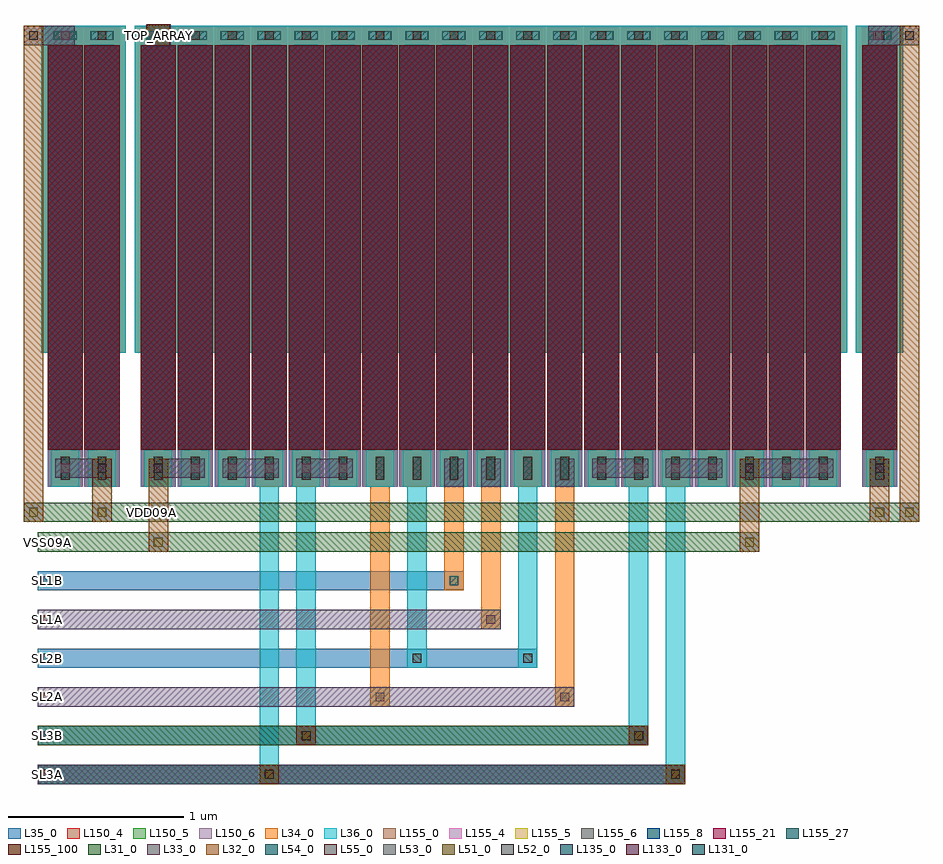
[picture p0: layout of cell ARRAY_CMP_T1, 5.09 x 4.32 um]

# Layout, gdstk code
from math import pi, radians
import gdstk
lib = gdstk.Library(unit=1e-6, precision=1e-09)
def R(c, l, rs):  # rectangles x0, y0, x1, y1
    for r in rs: c.add(gdstk.rectangle(r[:2], r[2:], *l))
def A(c, l, x, y, w, h, nx, ny, dx, dy):  # array of equal rectangles
    R(c, l, [(x+i*dx, y+j*dy, x+i*dx+w, y+j*dy+h) for i in range(nx) for j in range(ny)])
L31_0 = (31, 0)
L32_0 = (32, 0)
L33_0 = (33, 0)
L34_0 = (34, 0)
L35_0 = (35, 0)
L36_0 = (36, 0)
L51_0 = (51, 0)
L52_0 = (52, 0)
L53_0 = (53, 0)
L54_0 = (54, 0)
L55_0 = (55, 0)
L131_0 = (131, 0)
L133_0 = (133, 0)
L135_0 = (135, 0)
L150_4 = (150, 4)
L150_5 = (150, 5)
L150_6 = (150, 6)
L155_0 = (155, 0)
L155_4 = (155, 4)
L155_5 = (155, 5)
L155_6 = (155, 6)
L155_8 = (155, 8)
L155_21 = (155, 21)
L155_27 = (155, 27)
L155_100 = (155, 100)

m5_m4_cdns_621862986998 = lib.new_cell('M5_M4_CDNS_621862986998')
R(m5_m4_cdns_621862986998, L34_0, [(-0.07,-0.105,0.07,0.105)])
R(m5_m4_cdns_621862986998, L35_0, [(-0.07,-0.105,0.07,0.105)])
R(m5_m4_cdns_621862986998, L54_0, [(-0.025,-0.065,0.025,0.065)])

m6_m5_cdns_621862986999 = lib.new_cell('M6_M5_CDNS_621862986999')
R(m6_m5_cdns_621862986999, L35_0, [(-0.07,-0.105,0.07,0.105)])
R(m6_m5_cdns_621862986999, L36_0, [(-0.055,-0.105,0.055,0.105)])
R(m6_m5_cdns_621862986999, L55_0, [(-0.025,-0.065,0.025,0.065)])

m5_m4_cdns_6218629869910 = lib.new_cell('M5_M4_CDNS_6218629869910')
R(m5_m4_cdns_6218629869910, L34_0, [(-0.095,-0.055,0.095,0.055)])
R(m5_m4_cdns_6218629869910, L35_0, [(-0.12,-0.055,0.12,0.055)])
R(m5_m4_cdns_6218629869910, L54_0, [(-0.065,-0.025,0.065,0.025)])

m6_m5_cdns_621862986996 = lib.new_cell('M6_M5_CDNS_621862986996')
R(m6_m5_cdns_621862986996, L35_0, [(-0.055,-0.055,0.055,0.055)])
R(m6_m5_cdns_621862986996, L36_0, [(-0.055,-0.055,0.055,0.055)])
R(m6_m5_cdns_621862986996, L55_0, [(-0.025,-0.025,0.025,0.025)])

cu1f = lib.new_cell('CU1F')
R(cu1f, L34_0, [(0.02,0,0.18,0.21), (-0.035,2.51,0.235,2.62)])
R(cu1f, L35_0, [(0.02,0,0.18,0.21), (-0.035,2.51,0.235,2.62)])
R(cu1f, L36_0, [(0.02,0,0.18,0.21), (-0.035,2.51,0.235,2.62)])
R(cu1f, L150_4, [(0,0,0.2,2.62)])
R(cu1f, L150_5, [(0,0,0.2,2.62)])
R(cu1f, L150_6, [(0,0,0.2,2.62)])
R(cu1f, L155_0, [(0,0.21,0.2,2.51)])
R(cu1f, L155_4, [(0,0.21,0.2,2.51)])
R(cu1f, L155_5, [(0,0.21,0.2,2.51)])
R(cu1f, L155_6, [(0,0.21,0.2,2.51)])
R(cu1f, L155_8, [(0,0.21,0.2,2.51)])
R(cu1f, L155_21, [(0,0.21,0.2,2.51)])
R(cu1f, L155_27, [(0,0.21,0.2,2.51)])
R(cu1f, L155_100, [(0,0.21,0.2,2.51)])
cu1f.add(gdstk.FlexPath([(0.205,2.59),(0.205,0.76)], 0.06, ends=(0.03, 0), simple_path=True, layer=34, datatype=0))  # L34_0
cu1f.add(gdstk.FlexPath([(0.1,2.41),(0.1,0)], 0.05, ends="flush", simple_path=True, layer=34, datatype=0))  # L34_0
cu1f.add(gdstk.FlexPath([(-0.005,2.59),(-0.005,0.76)], 0.06, ends=(0.03, 0), simple_path=True, layer=34, datatype=0))  # L34_0
cu1f.add(gdstk.FlexPath([(0.205,0.76),(0.205,2.59)], 0.06, ends=(0, 0.03), simple_path=True, layer=35, datatype=0))  # L35_0
cu1f.add(gdstk.FlexPath([(0.1,2.41),(0.1,0)], 0.05, ends="flush", simple_path=True, layer=35, datatype=0))  # L35_0
cu1f.add(gdstk.FlexPath([(-0.005,0.76),(-0.005,2.59)], 0.06, ends=(0, 0.03), simple_path=True, layer=35, datatype=0))  # L35_0
cu1f.add(gdstk.FlexPath([(0.205,0.76),(0.205,2.59)], 0.06, ends=(0, 0.03), simple_path=True, layer=36, datatype=0))  # L36_0
cu1f.add(gdstk.FlexPath([(0.1,2.41),(0.1,0)], 0.05, ends="flush", simple_path=True, layer=36, datatype=0))  # L36_0
cu1f.add(gdstk.FlexPath([(-0.005,0.76),(-0.005,2.59)], 0.06, ends=(0, 0.03), simple_path=True, layer=36, datatype=0))  # L36_0
cu1f.add(gdstk.Reference(m5_m4_cdns_621862986998, (0.1,0.105), rotation=pi, x_reflection=True))
cu1f.add(gdstk.Reference(m6_m5_cdns_621862986999, (0.1,0.105), rotation=pi, x_reflection=True))
cu1f.add(gdstk.Reference(m5_m4_cdns_6218629869910, (0.1,2.565)))
cu1f.add(gdstk.Reference(m6_m5_cdns_621862986996, (0.1,2.565)))

m2_m1_cdns_621862986990 = lib.new_cell('M2_M1_CDNS_621862986990')
R(m2_m1_cdns_621862986990, L31_0, [(-0.055,-0.055,0.055,0.055)])
R(m2_m1_cdns_621862986990, L32_0, [(-0.055,-0.055,0.055,0.055)])
R(m2_m1_cdns_621862986990, L51_0, [(-0.025,-0.025,0.025,0.025)])

m3_m2_cdns_621862986991 = lib.new_cell('M3_M2_CDNS_621862986991')
R(m3_m2_cdns_621862986991, L32_0, [(-0.055,-0.055,0.055,0.055)])
R(m3_m2_cdns_621862986991, L33_0, [(-0.055,-0.055,0.055,0.055)])
R(m3_m2_cdns_621862986991, L52_0, [(-0.025,-0.025,0.025,0.025)])

m4_m3_cdns_621862986992 = lib.new_cell('M4_M3_CDNS_621862986992')
R(m4_m3_cdns_621862986992, L33_0, [(-0.055,-0.055,0.055,0.055)])
R(m4_m3_cdns_621862986992, L34_0, [(-0.055,-0.055,0.055,0.055)])
R(m4_m3_cdns_621862986992, L53_0, [(-0.025,-0.025,0.025,0.025)])

m4_m3_cdns_621862986993 = lib.new_cell('M4_M3_CDNS_621862986993')
R(m4_m3_cdns_621862986993, L33_0, [(-0.07,-0.065,0.07,0.065)])
R(m4_m3_cdns_621862986993, L34_0, [(-0.055,-0.055,0.055,0.055)])
R(m4_m3_cdns_621862986993, L53_0, [(-0.025,-0.025,0.025,0.025)])

m3_m2_cdns_621862986994 = lib.new_cell('M3_M2_CDNS_621862986994')
R(m3_m2_cdns_621862986994, L32_0, [(-0.065,-0.06,0.065,0.06)])
R(m3_m2_cdns_621862986994, L33_0, [(-0.07,-0.065,0.07,0.065)])
R(m3_m2_cdns_621862986994, L52_0, [(-0.025,-0.025,0.025,0.025)])

m2_m1_cdns_621862986995 = lib.new_cell('M2_M1_CDNS_621862986995')
R(m2_m1_cdns_621862986995, L31_0, [(-0.055,-0.055,0.055,0.055)])
R(m2_m1_cdns_621862986995, L32_0, [(-0.065,-0.06,0.065,0.06)])
R(m2_m1_cdns_621862986995, L51_0, [(-0.025,-0.025,0.025,0.025)])

m5_m4_cdns_621862986997 = lib.new_cell('M5_M4_CDNS_621862986997')
R(m5_m4_cdns_621862986997, L34_0, [(-0.055,-0.055,0.055,0.055)])
R(m5_m4_cdns_621862986997, L35_0, [(-0.055,-0.055,0.055,0.055)])
R(m5_m4_cdns_621862986997, L54_0, [(-0.025,-0.025,0.025,0.025)])

array_cmp_t1 = lib.new_cell('ARRAY_CMP_T1')
R(array_cmp_t1, L31_0, [(-0.055,-1.69,3.625,-1.58), (-0.055,-1.47,3.415,-1.36), (-0.055,-0.37,4.045,-0.26), (-0.135,-0.2,4.955,-0.09), (0.56,2.5,0.7,2.63)])
R(array_cmp_t1, L32_0, [(0.575,-0.37,0.685,0.16), (3.935,-0.37,4.045,0.16), (-0.135,-0.2,-0.025,2.62), (0.255,-0.2,0.365,0.16), (4.675,-0.2,4.785,0.16), (4.845,-0.2,4.955,2.62)])
A(array_cmp_t1, L33_0, 0.575, 0.05, 0.32, 0.11, 3, 1, 0.42, 0)
R(array_cmp_t1, L33_0, [(-0.055,-1.69,3.625,-1.58), (-0.055,-1.25,2.995,-1.14), (-0.055,-0.81,2.575,-0.7), (2.255,0,2.365,0.16), (2.465,0,2.575,0.16), (2.885,0,2.995,0.16), (4.675,0,4.785,0.16), (0.045,0.05,0.365,0.16), (3.095,0.05,3.415,0.16), (3.515,0.05,3.835,0.16), (3.935,0.05,4.465,0.16), (-0.135,2.51,0.155,2.62), (4.665,2.51,4.955,2.62)])
R(array_cmp_t1, L34_0, [(1.835,-1.25,1.945,0.16), (2.885,-1.25,2.995,0.16), (2.465,-0.81,2.575,0.16), (2.255,-0.59,2.365,0.16)])
R(array_cmp_t1, L35_0, [(-0.055,-1.69,3.625,-1.58), (-0.055,-1.47,3.415,-1.36), (-0.055,-1.03,2.785,-0.92), (-0.055,-0.59,2.365,-0.48)])
R(array_cmp_t1, L36_0, [(1.205,-1.69,1.315,0.16), (3.515,-1.69,3.625,0.16), (1.415,-1.47,1.525,0.16), (3.305,-1.47,3.415,0.16), (2.045,-1.03,2.155,0.16), (2.675,-1.03,2.785,0.16)])
R(array_cmp_t1, L131_0, [(-0.025,-0.34,0.025,-0.29), (0.565,-0.17,0.615,-0.12), (0.605,2.54,0.655,2.59)])
A(array_cmp_t1, L133_0, -0.025, -1.66, 0.05, 0.05, 1, 3, 0, 0.44)
A(array_cmp_t1, L135_0, -0.025, -1.44, 0.05, 0.05, 1, 3, 0, 0.44)
array_cmp_t1.add(gdstk.Reference(cu1f, (0,0)))
array_cmp_t1.add(gdstk.Reference(cu1f, (0.21,0)))
array_cmp_t1.add(gdstk.Reference(cu1f, (0.53,0)))
array_cmp_t1.add(gdstk.Reference(cu1f, (0.74,0)))
array_cmp_t1.add(gdstk.Reference(cu1f, (4.63,0)))
array_cmp_t1.add(gdstk.Reference(cu1f, (4.31,0)))
array_cmp_t1.add(gdstk.Reference(cu1f, (4.1,0)))
array_cmp_t1.add(gdstk.Reference(cu1f, (3.89,0)))
array_cmp_t1.add(gdstk.Reference(cu1f, (3.68,0)))
array_cmp_t1.add(gdstk.Reference(cu1f, (3.47,0)))
array_cmp_t1.add(gdstk.Reference(cu1f, (3.26,0)))
array_cmp_t1.add(gdstk.Reference(cu1f, (3.05,0)))
array_cmp_t1.add(gdstk.Reference(cu1f, (2.84,0)))
array_cmp_t1.add(gdstk.Reference(cu1f, (2.63,0)))
array_cmp_t1.add(gdstk.Reference(cu1f, (2.42,0)))
array_cmp_t1.add(gdstk.Reference(cu1f, (2.21,0)))
array_cmp_t1.add(gdstk.Reference(cu1f, (2,0)))
array_cmp_t1.add(gdstk.Reference(cu1f, (1.79,0)))
array_cmp_t1.add(gdstk.Reference(cu1f, (1.58,0)))
array_cmp_t1.add(gdstk.Reference(cu1f, (1.37,0)))
array_cmp_t1.add(gdstk.Reference(cu1f, (1.16,0)))
array_cmp_t1.add(gdstk.Reference(cu1f, (0.95,0)))
array_cmp_t1.add(gdstk.Reference(m2_m1_cdns_621862986990, (3.36,-1.415)))
array_cmp_t1.add(gdstk.Reference(m2_m1_cdns_621862986990, (4.9,-0.145)))
array_cmp_t1.add(gdstk.Reference(m2_m1_cdns_621862986990, (-0.08,-0.145)))
array_cmp_t1.add(gdstk.Reference(m2_m1_cdns_621862986990, (1.26,-1.635)))
array_cmp_t1.add(gdstk.Reference(m2_m1_cdns_621862986990, (3.57,-1.635)))
array_cmp_t1.add(gdstk.Reference(m2_m1_cdns_621862986990, (1.47,-1.415)))
array_cmp_t1.add(gdstk.Reference(m2_m1_cdns_621862986990, (4.73,-0.145)))
array_cmp_t1.add(gdstk.Reference(m2_m1_cdns_621862986990, (0.31,-0.145)))
array_cmp_t1.add(gdstk.Reference(m2_m1_cdns_621862986990, (3.99,-0.315)))
array_cmp_t1.add(gdstk.Reference(m2_m1_cdns_621862986990, (0.63,-0.315)))
array_cmp_t1.add(gdstk.Reference(m3_m2_cdns_621862986991, (4.9,2.565)))
array_cmp_t1.add(gdstk.Reference(m3_m2_cdns_621862986991, (-0.08,2.565)))
array_cmp_t1.add(gdstk.Reference(m3_m2_cdns_621862986991, (1.26,-1.635)))
array_cmp_t1.add(gdstk.Reference(m3_m2_cdns_621862986991, (3.57,-1.635)))
array_cmp_t1.add(gdstk.Reference(m3_m2_cdns_621862986991, (1.47,-1.415)))
array_cmp_t1.add(gdstk.Reference(m3_m2_cdns_621862986991, (4.73,0.105)))
array_cmp_t1.add(gdstk.Reference(m3_m2_cdns_621862986991, (3.99,0.105)))
array_cmp_t1.add(gdstk.Reference(m3_m2_cdns_621862986991, (0.63,0.105)))
array_cmp_t1.add(gdstk.Reference(m3_m2_cdns_621862986991, (0.31,0.105)))
array_cmp_t1.add(gdstk.Reference(m3_m2_cdns_621862986991, (3.36,-1.415)))
array_cmp_t1.add(gdstk.Reference(m4_m3_cdns_621862986992, (4.72,2.565), rotation=pi, x_reflection=True))
array_cmp_t1.add(gdstk.Reference(m4_m3_cdns_621862986992, (0.1,2.565)))
array_cmp_t1.add(gdstk.Reference(m4_m3_cdns_621862986992, (2.94,-1.195)))
array_cmp_t1.add(gdstk.Reference(m4_m3_cdns_621862986992, (1.26,-1.635)))
array_cmp_t1.add(gdstk.Reference(m4_m3_cdns_621862986992, (1.89,-1.195)))
array_cmp_t1.add(gdstk.Reference(m4_m3_cdns_621862986992, (1.68,0.105)))
array_cmp_t1.add(gdstk.Reference(m4_m3_cdns_621862986992, (1.47,-1.415)))
array_cmp_t1.add(gdstk.Reference(m4_m3_cdns_621862986992, (3.78,0.105)))
array_cmp_t1.add(gdstk.Reference(m4_m3_cdns_621862986992, (3.36,0.105)))
array_cmp_t1.add(gdstk.Reference(m4_m3_cdns_621862986992, (3.15,0.105)))
array_cmp_t1.add(gdstk.Reference(m4_m3_cdns_621862986992, (3.57,-1.635)))
array_cmp_t1.add(gdstk.Reference(m4_m3_cdns_621862986992, (4.73,0.105)))
array_cmp_t1.add(gdstk.Reference(m4_m3_cdns_621862986992, (4.2,0.105)))
array_cmp_t1.add(gdstk.Reference(m4_m3_cdns_621862986992, (4.41,0.105)))
array_cmp_t1.add(gdstk.Reference(m4_m3_cdns_621862986992, (3.99,0.105)))
array_cmp_t1.add(gdstk.Reference(m4_m3_cdns_621862986992, (0.84,0.105)))
array_cmp_t1.add(gdstk.Reference(m4_m3_cdns_621862986992, (0.63,0.105)))
array_cmp_t1.add(gdstk.Reference(m4_m3_cdns_621862986992, (0.1,0.105)))
array_cmp_t1.add(gdstk.Reference(m4_m3_cdns_621862986992, (0.31,0.105)))
array_cmp_t1.add(gdstk.Reference(m4_m3_cdns_621862986992, (1.26,0.105)))
array_cmp_t1.add(gdstk.Reference(m4_m3_cdns_621862986992, (2.52,-0.755)))
array_cmp_t1.add(gdstk.Reference(m4_m3_cdns_621862986992, (1.47,0.105)))
array_cmp_t1.add(gdstk.Reference(m4_m3_cdns_621862986992, (1.05,0.105)))
array_cmp_t1.add(gdstk.Reference(m4_m3_cdns_621862986992, (3.36,-1.415)))
array_cmp_t1.add(gdstk.Reference(m4_m3_cdns_621862986992, (3.57,0.105)))
array_cmp_t1.add(gdstk.Reference(m4_m3_cdns_621862986993, (0.63,2.565)))
array_cmp_t1.add(gdstk.Reference(m3_m2_cdns_621862986994, (0.63,2.565)))
array_cmp_t1.add(gdstk.Reference(m2_m1_cdns_621862986995, (0.63,2.565)))
array_cmp_t1.add(gdstk.Reference(m6_m5_cdns_621862986996, (3.57,-1.635)))
array_cmp_t1.add(gdstk.Reference(m6_m5_cdns_621862986996, (1.26,0.105)))
array_cmp_t1.add(gdstk.Reference(m6_m5_cdns_621862986996, (3.36,0.105)))
array_cmp_t1.add(gdstk.Reference(m6_m5_cdns_621862986996, (3.57,0.105)))
array_cmp_t1.add(gdstk.Reference(m6_m5_cdns_621862986996, (1.47,0.105)))
array_cmp_t1.add(gdstk.Reference(m6_m5_cdns_621862986996, (3.36,-1.415)))
array_cmp_t1.add(gdstk.Reference(m6_m5_cdns_621862986996, (2.1,-0.975)))
array_cmp_t1.add(gdstk.Reference(m6_m5_cdns_621862986996, (1.47,-1.415)))
array_cmp_t1.add(gdstk.Reference(m6_m5_cdns_621862986996, (2.73,-0.975)))
array_cmp_t1.add(gdstk.Reference(m6_m5_cdns_621862986996, (1.26,-1.635)))
array_cmp_t1.add(gdstk.Reference(m5_m4_cdns_621862986997, (1.26,0.105)))
array_cmp_t1.add(gdstk.Reference(m5_m4_cdns_621862986997, (2.31,-0.535)))
array_cmp_t1.add(gdstk.Reference(m5_m4_cdns_621862986997, (1.47,0.105)))
array_cmp_t1.add(gdstk.Reference(m5_m4_cdns_621862986997, (3.36,-1.415)))
array_cmp_t1.add(gdstk.Reference(m5_m4_cdns_621862986997, (3.57,-1.635)))
array_cmp_t1.add(gdstk.Reference(m5_m4_cdns_621862986997, (3.36,0.105)))
array_cmp_t1.add(gdstk.Reference(m5_m4_cdns_621862986997, (1.47,-1.415)))
array_cmp_t1.add(gdstk.Reference(m5_m4_cdns_621862986997, (3.57,0.105)))
array_cmp_t1.add(gdstk.Reference(m5_m4_cdns_621862986997, (1.26,-1.635)))
array_cmp_t1.add(gdstk.Label('SL3A', (0,-1.635), layer=135, texttype=0))
array_cmp_t1.add(gdstk.Label('SL3B', (0,-1.415), layer=135, texttype=0))
array_cmp_t1.add(gdstk.Label('SL1B', (0,-0.535), layer=135, texttype=0))
array_cmp_t1.add(gdstk.Label('SL2B', (0,-0.975), layer=135, texttype=0))
array_cmp_t1.add(gdstk.Label('SL1A', (0,-0.755), layer=133, texttype=0))
array_cmp_t1.add(gdstk.Label('SL2A', (0,-1.195), layer=133, texttype=0))
array_cmp_t1.add(gdstk.Label('VDD09A', (0.59,-0.145), layer=131, texttype=0))
array_cmp_t1.add(gdstk.Label('VSS09A', (0,-0.315), layer=131, texttype=0))
array_cmp_t1.add(gdstk.Label('TOP_ARRAY', (0.628,2.565), layer=131, texttype=0))

lib.write_gds('ARRAY_CMP_T1.gds')
